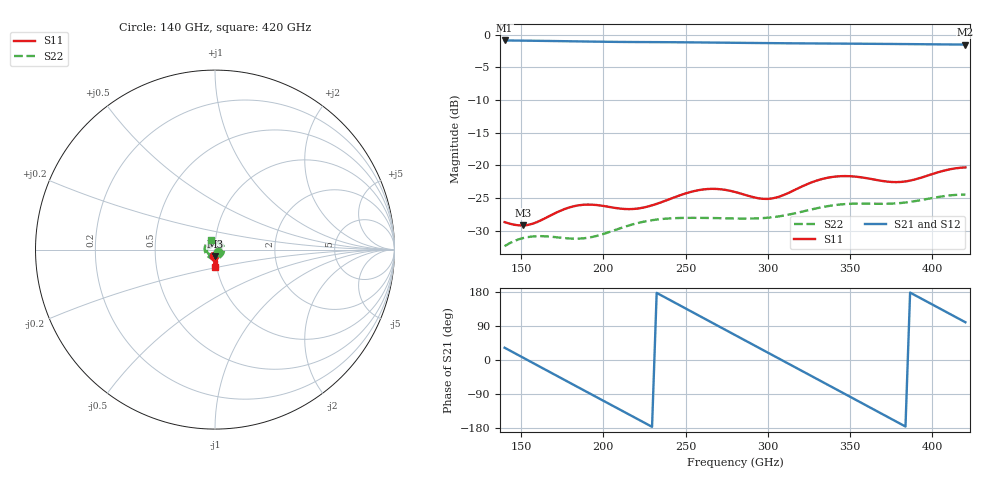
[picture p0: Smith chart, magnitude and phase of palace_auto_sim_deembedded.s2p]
! Created with skrf 1.11.0 (http://scikit-rf.org).
# GHz S DB R 50.0
!freq dBS11 angS11 dBS21 angS21 dBS12 angS12 dBS22 angS22
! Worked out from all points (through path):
!   101 points, 140 GHz to 420 GHz, reference 50 ohm
!   highest |S21| = -0.90 dB at 140 GHz (marker M1); lowest = -1.5 dB at 420 GHz (marker M2)
!   group delay of S21, straight-line fit = 6.48 ps
!   lowest |S11| = -29.2 dB at 151.2 GHz (marker M3), VSWR 1.07, Z = 49.8 - j3.47 ohm
!   |S11| at or under -10 dB: start of sweep to end of sweep
!   |S22| runs from -32.3 to -24.5 dB; largest |S21 - S12| = 1e-13
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140  -28.67 -96.3  -0.90 32.4  -0.90 32.4  -32.35 -42.0
151.2  -29.18 -90.9  -0.93 6.2  -0.93 6.2  -31.11 -81.9
168  -27.64 -82.9  -0.98 -33.0  -0.98 -33.0  -30.90 -148.0
187.6  -26.02 -90.1  -1.05 -78.7  -1.05 -78.7  -31.15 120.3
207.2  -26.50 -94.5  -1.12 -124.3  -1.12 -124.3  -29.87 23.9
221.2  -26.58 -89.2  -1.14 -156.8  -1.14 -156.8  -28.79 -40.8
235.2  -25.63 -84.4  -1.16 170.6  -1.16 170.6  -28.20 -103.7
246.4  -24.59 -84.6  -1.18 144.4  -1.18 144.4  -28.04 -154.2
260.4  -23.68 -89.7  -1.21 111.7  -1.21 111.7  -28.02 141.8
268.8  -23.60 -93.7  -1.23 92.1  -1.23 92.1  -28.06 102.8
280  -24.06 -97.4  -1.26 66.0  -1.26 66.0  -28.11 50.2
294  -25.01 -94.1  -1.29 33.3  -1.29 33.3  -28.09 -17.1
305.2  -24.91 -85.7  -1.32 7.2  -1.32 7.2  -27.85 -72.0
316.4  -23.74 -80.5  -1.34 -18.9  -1.34 -18.9  -27.32 -126.5
327.6  -22.50 -81.6  -1.36 -44.9  -1.36 -44.9  -26.67 -179.7
338.8  -21.78 -86.0  -1.37 -71.0  -1.37 -71.0  -26.13 128.7
350  -21.65 -90.8  -1.39 -97.2  -1.39 -97.2  -25.87 77.7
361.2  -22.01 -93.3  -1.41 -123.3  -1.41 -123.3  -25.85 26.1
375.2  -22.53 -90.8  -1.44 -156.0  -1.44 -156.0  -25.84 -40.6
394.8  -21.74 -83.5  -1.48 158.3  -1.48 158.3  -25.22 -134.6
408.8  -20.69 -84.8  -1.51 125.7  -1.51 125.7  -24.64 161.4
420  -20.31 -88.7  -1.53 99.6  -1.53 99.6  -24.47 111.4
